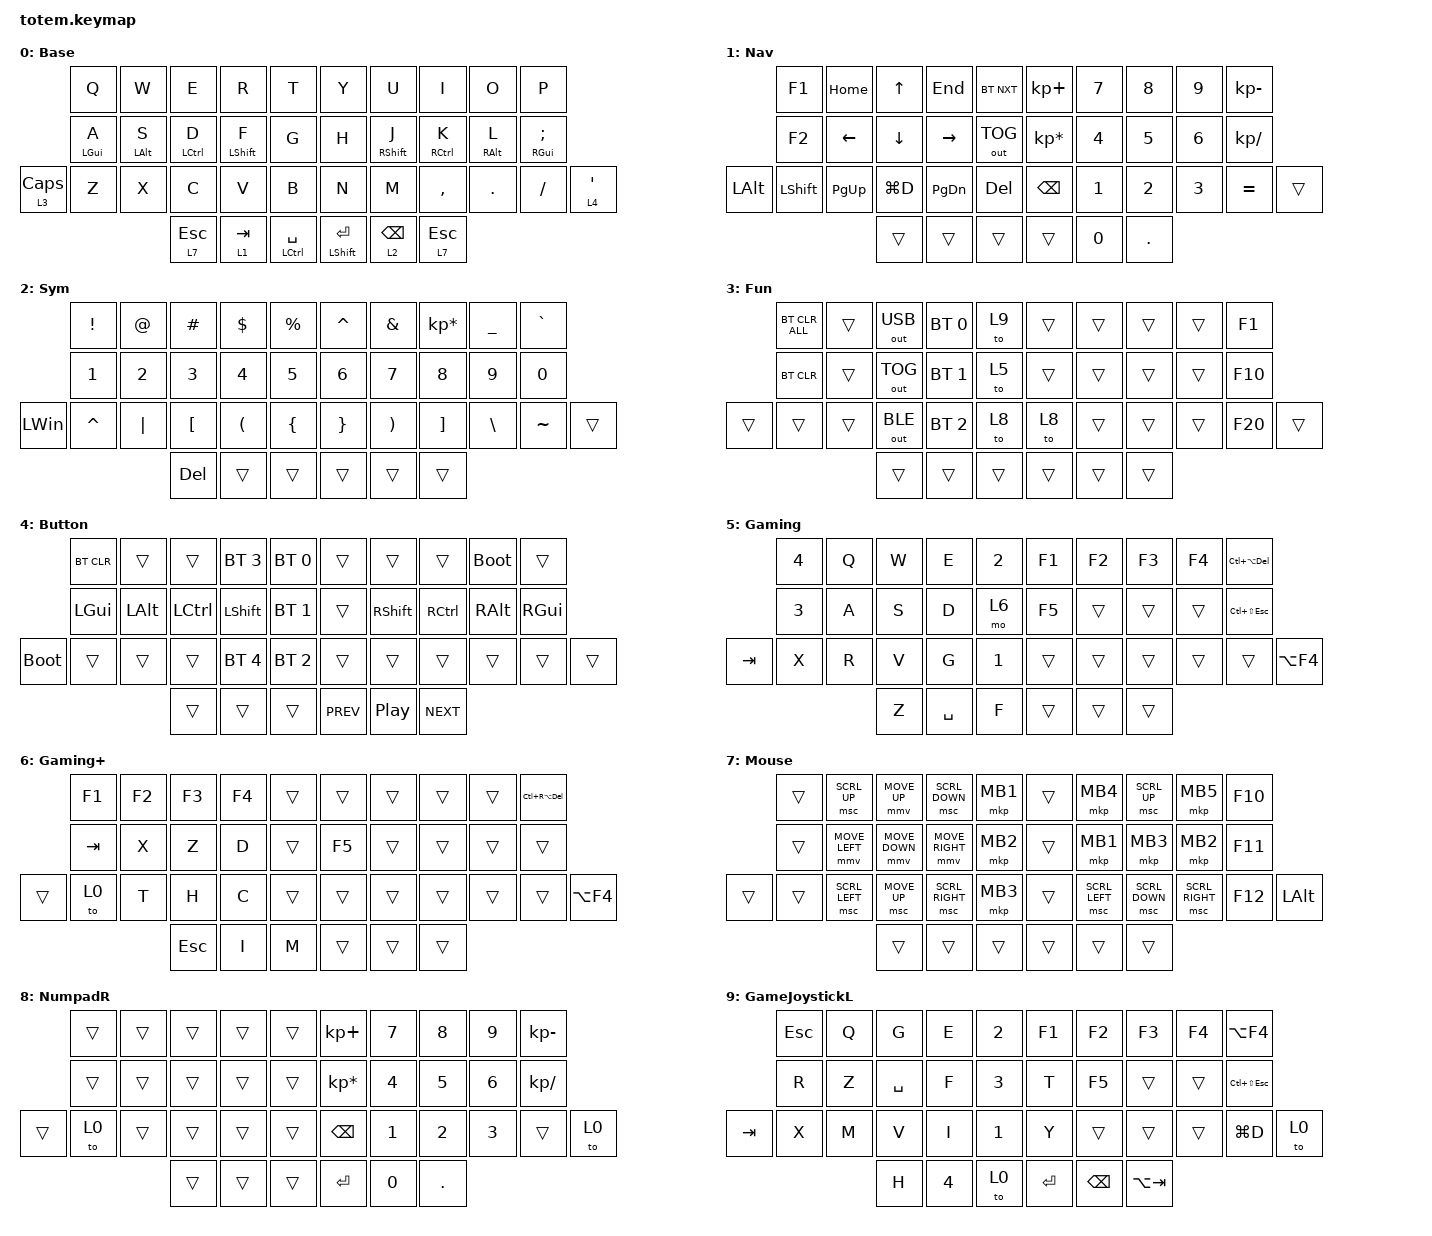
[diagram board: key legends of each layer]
//
//                                                        ▀▀▀▀▀     ▀▀▀▀▀          ▀▀█▀▀
//                                                        ▄▀▀▀▄  ▄  ▄▀▀▀▄  ▄  ▄▀▀▀▄  █  ▄▀▀▀▄
//                                                        █   █  █  █   █  █  █   █  █  █   █
//                                                         ▀▀▀   █   ▀▀▀   █   ▀▀▀   ▀   ▀▀▀
//                                                               █      ▄▄▄█▄▄▄    █   █  
//                                                               ▀      █  █  █     █▄█
//                                                             ▀▀▀▀▀    █  █  █      ▀
//                                                                      ▀  ▀  ▀
//
// ▄▄▄▄▄▄▄▄▄▄▄▄▄▄▄▄▄▄▄▄▄▄▄▄▄▄▄▄▄▄▄▄▄▄▄▄▄▄▄▄▄▄▄▄▄▄▄▄▄▄▄▄▄▄▄▄▄▄▄▄▄▄▄▄▄▄▄▄▄▄▄▄▄▄▄▄▄▄▄▄▄▄▄▄▄▄▄▄▄▄▄▄▄▄▄▄▄▄▄▄▄▄▄▄▄▄▄▄▄▄▄▄▄▄▄▄▄▄▄▄▄▄▄▄▄▄▄▄▄▄▄▄▄▄▄▄▄▄▄▄▄▄▄▄▄▄▄▄▄

#include <behaviors.dtsi>
#include <dt-bindings/zmk/bt.h>
#include <dt-bindings/zmk/keys.h>
#include <dt-bindings/zmk/mouse.h>
#include <dt-bindings/zmk/outputs.h>

#define Base        0
#define Media       1
#define Nav         2
#define Mouse       3
#define Sym         4
#define Num         5
#define Fun         6
#define Button      7
#define Game        8
#define Gameplus    9

&mt {
    quick-tap-ms = <100>;
    global-quick-tap;
    flavor = "tap-preferred";
    tapping-term-ms = <170>;
};

&lt {
    tapping-term-ms = <240>;
    flavor = "balanced";
    quick-tap-ms = <150>;
};

/ {
    behaviors {
        hm: homerow_mods {
            compatible = "zmk,behavior-hold-tap";
            label = "HOMEROW_MODS";
            #binding-cells = <2>;
            flavor = "tap-preferred";
            tapping-term-ms = <400>;
            quick-tap-ms = <125>;
            global-quick-tap;
            bindings = <&kp>, <&kp>;

            require-prior-idle-ms = <200>;
        };
    };

    combos {
        compatible = "zmk,combos";

        LParentheses {
            bindings = <&kp LEFT_PARENTHESIS>;
            key-positions = <3 4>;
        };

        LBracket {
            bindings = <&kp LEFT_BRACKET>;
            key-positions = <13 14>;
        };

        LBrace {
            bindings = <&kp LEFT_BRACE>;
            key-positions = <24 25>;
        };

        RParenthesis {
            bindings = <&kp RIGHT_PARENTHESIS>;
            key-positions = <5 6>;
        };

        RBracket {
            bindings = <&kp RIGHT_BRACKET>;
            key-positions = <15 16>;
        };

        RBrace {
            bindings = <&kp RIGHT_BRACE>;
            key-positions = <26 27>;
        };

        LCopy {
            bindings = <&kp LC(C)>;
            key-positions = <32 33>;
        };

        LPaste {
            bindings = <&kp LC(V)>;
            key-positions = <33 34>;
        };

        LCp {
            bindings = <&kp LC(C)>;
            key-positions = <2 3>;
        };

        LPst {
            bindings = <&kp LC(V)>;
            key-positions = <23 24>;
        };
    };

    keymap {
        compatible = "zmk,keymap";

        Base {
            label = "Base";
            bindings = <
            &kp Q       &kp W       &kp E        &kp R         &kp T              &kp Y           &kp U        &kp I        &kp O       &kp P
            &hm LGUI A  &hm LALT S  &hm LCTRL D  &hm LSHIFT F  &kp G              &kp H           &hm RSHFT J  &hm RCTRL K  &hm RALT L  &hm RGUI SEMICOLON
&lt 3 CAPS  &kp Z       &kp X       &kp C        &kp V         &kp B              &kp N           &kp M        &kp COMMA    &kp DOT     &kp SLASH           &lt 4 APOSTROPHE
                                    &lt 7 ESC    &lt 1 TAB     &mt LCTRL SPACE    &mt LSHIFT RET  &lt 2 BSPC   &lt 7 ESC
            >;
        };

        Nav {
            label = "Nav";
            bindings = <
              &kp F1      &kp HOME     &kp UP_ARROW  &kp END    &bt BT_NXT      &kp KP_PLUS      &kp NUMBER_7  &kp NUMBER_8  &kp NUMBER_9  &kp KP_MINUS
              &kp F2      &kp LEFT     &kp DOWN      &kp RIGHT  &out OUT_TOG    &kp KP_MULTIPLY  &kp NUMBER_4  &kp NUMBER_5  &kp NUMBER_6  &kp KP_DIVIDE
&kp LEFT_ALT  &kp LSHIFT  &kp PAGE_UP  &kp LG(D)     &kp PG_DN  &kp DEL         &kp BSPC         &kp NUMBER_1  &kp NUMBER_2  &kp NUMBER_3  &kp EQUAL      &trans
                                       &trans        &trans     &trans          &trans           &kp NUMBER_0  &kp DOT
            >;
        };

        Sym {
            label = "Sym";
            bindings = <
          &kp EXCL      &kp AT        &kp HASH          &kp DOLLAR            &kp PERCENT       &kp CARET        &kp AMPERSAND          &kp KP_ASTERISK    &kp UNDER      &kp GRAVE
          &kp NUMBER_1  &kp NUMBER_2  &kp NUMBER_3      &kp NUMBER_4          &kp NUMBER_5      &kp NUMBER_6     &kp NUMBER_7           &kp NUMBER_8       &kp NUMBER_9   &kp NUMBER_0
&kp LWIN  &kp CARET     &kp PIPE      &kp LEFT_BRACKET  &kp LEFT_PARENTHESIS  &kp LEFT_BRACE    &kp RIGHT_BRACE  &kp RIGHT_PARENTHESIS  &kp RIGHT_BRACKET  &kp BACKSLASH  &kp TILDE     &trans
                                      &kp DEL           &trans                &trans            &trans           &trans                 &trans
            >;
        };

        Fun {
            label = "Fun";
            bindings = <
        &bt BT_CLR_ALL  &trans  &out OUT_USB  &bt BT_SEL 0  &to 9     &trans  &trans  &trans  &trans  &kp F1
        &bt BT_CLR      &trans  &out OUT_TOG  &bt BT_SEL 1  &to 5     &trans  &trans  &trans  &trans  &kp F10
&trans  &trans          &trans  &out OUT_BLE  &bt BT_SEL 2  &to 8     &to 8   &trans  &trans  &trans  &kp F20  &trans
                                &trans        &trans        &trans    &trans  &trans  &trans
            >;
        };

        Button {
            label = "Button";
            bindings = <
             &bt BT_CLR  &trans    &trans     &bt BT_SEL 3  &bt BT_SEL 0    &trans      &trans            &trans      &bootloader  &trans
             &kp LGUI    &kp LALT  &kp LCTRL  &kp LSHIFT    &bt BT_SEL 1    &trans      &kp RSHIFT        &kp RCTRL   &kp RALT     &kp RGUI
&bootloader  &trans      &trans    &trans     &bt BT_SEL 4  &bt BT_SEL 2    &trans      &trans            &trans      &trans       &trans    &trans
                                   &trans     &trans        &trans          &kp C_PREV  &kp C_PLAY_PAUSE  &kp C_NEXT
            >;
        };

        Gaming {
            bindings = <
         &kp NUMBER_4  &kp Q  &kp W  &kp E      &kp NUMBER_2    &kp F1  &kp F2  &kp F3  &kp F4  &kp LC(LA(DELETE))
         &kp NUMBER_3  &kp A  &kp S  &kp D      &mo 6           &kp F5  &trans  &trans  &trans  &kp LC(LS(ESC))
&kp TAB  &kp X         &kp R  &kp V  &kp G      &kp NUMBER_1    &trans  &trans  &trans  &trans  &trans              &kp LA(F4)
                              &kp Z  &kp SPACE  &kp F           &trans  &trans  &trans
            >;

            label = "Gaming";
        };

        Gaming+ {
            bindings = <
        &kp F1   &kp F2  &kp F3   &kp F4  &trans    &trans  &trans  &trans  &trans  &kp LC(RA(DEL))
        &kp TAB  &kp X   &kp Z    &kp D   &trans    &kp F5  &trans  &trans  &trans  &trans
&trans  &to 0    &kp T   &kp H    &kp C   &trans    &trans  &trans  &trans  &trans  &trans           &kp LA(F4)
                         &kp ESC  &kp I   &kp M     &trans  &trans  &trans
            >;

            label = "Gaming+";
        };

        Mouse {
            bindings = <
        &trans  &msc SCRL_UP    &mmv MOVE_UP         &msc SCRL_DOWN   &mkp MB1    &trans  &mkp MB4        &msc SCRL_UP    &mkp MB5         &kp F10
        &trans  &mmv MOVE_LEFT  &mmv MOVE_DOWN       &mmv MOVE_RIGHT  &mkp MB2    &trans  &mkp MB1        &mkp MB3        &mkp MB2         &kp F11
&trans  &trans  &msc SCRL_LEFT  &msc MOVE_UP         &msc SCRL_RIGHT  &mkp MB3    &trans  &msc SCRL_LEFT  &msc SCRL_DOWN  &msc SCRL_RIGHT  &kp F12  &kp LALT
                                &trans               &trans           &trans      &trans  &trans          &trans
            >;
        };

        NumpadR {
            bindings = <
        &trans  &trans  &trans  &trans  &trans    &kp KP_PLUS      &kp N7        &kp NUMBER_8  &kp NUMBER_9  &kp KP_MINUS
        &trans  &trans  &trans  &trans  &trans    &kp KP_MULTIPLY  &kp NUMBER_4  &kp NUMBER_5  &kp NUMBER_6  &kp KP_DIVIDE
&trans  &to 0   &trans  &trans  &trans  &trans    &kp BACKSPACE    &kp NUMBER_1  &kp NUMBER_2  &kp NUMBER_3  &trans         &to 0
                        &trans  &trans  &trans    &kp ENTER        &kp NUMBER_0  &kp DOT
            >;
        };

        GameJoystickL {
            bindings = <
         &kp ESC  &kp Q  &kp G      &kp E         &kp NUMBER_2    &kp F1      &kp F2         &kp F3       &kp F4  &kp LA(F4)
         &kp R    &kp Z  &kp SPACE  &kp F         &kp NUMBER_3    &kp T       &kp F5         &trans       &trans  &kp LC(LS(ESC))
&kp TAB  &kp X    &kp M  &kp V      &kp I         &kp NUMBER_1    &kp Y       &trans         &trans       &trans  &kp LG(D)        &to 0
                         &kp H      &kp NUMBER_4  &to 0           &kp RETURN  &kp BACKSPACE  &kp LA(TAB)
            >;
        };
    };
};
